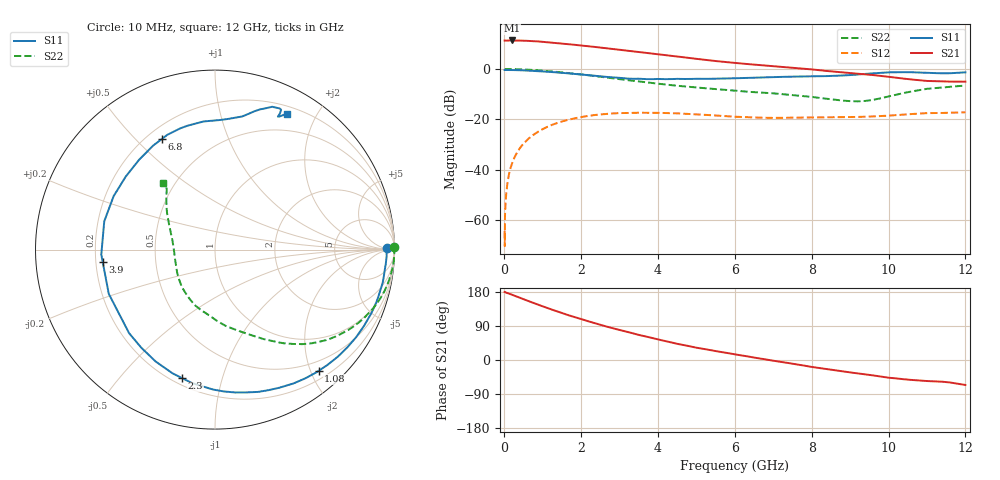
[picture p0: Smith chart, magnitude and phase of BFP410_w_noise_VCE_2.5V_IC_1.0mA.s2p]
! Infineon Technologies  Discrete & RF Semiconductors
! BFP410
! VCE =  2.5 V,  IC =  1.0 mA
! Common Emitter S-Parameters:  Nov 2015
# GHz  S  MA  R  50
!  f  S11  S21  S12  S22
! GHz  MAG  ANG  MAG  ANG  MAG  ANG  MAG  ANG
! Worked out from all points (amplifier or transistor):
!   243 points, 10 MHz to 12 GHz, reference 50 ohm
!   highest |S21| = 11.4 dB at 195 MHz (marker M1)
!   |S21| within 3 dB of that: start of sweep to 2.604 GHz
!   unconditionally stable (mu >= 1): 4.633 GHz to end of sweep
!   at 240 MHz: K = 0.02, MSG = 23.7 dB, |S12| = -36.1 dB
!   at 1.84 GHz: K = 0.28, MSG = 14.6 dB, |S12| = -19.6 dB
!   at 12 GHz: K = 1.27, MAG = 3.0 dB, |S12| = -17.2 dB
!   lowest NFmin = 0.79 dB at 900 MHz
!   S11 on the Smith chart (normalised r, x): 10 MHz: 42, +10; 1.08 GHz: 0.33, -2.13; 2.3 GHz: 0.24, -0.75; 3.9 GHz: 0.23, -0.05; 6.8 GHz: 0.26, +0.60; 12 GHz: 0.28, +1.63
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0.01  0.956 0.6  3.677 179.7  0.0006 -73.2  1 0.7
0.015  0.9558 0.1  3.675 179.6  0.0003 80.1  0.997 0.5
0.02  0.9557 -0.4  3.673 179.4  0.0012 93.1  0.994 0.2
0.035  0.9562 -1.3  3.67 178.6  0.0022 89.9  0.9966 -0.3
0.065  0.9564 -2.8  3.674 177.2  0.0042 88.1  0.9991 -1.2
0.195  0.9525 -8.8  3.695 172.6  0.0128 85.1  0.9967 -4.5
0.4  0.9457 -18.0  3.676 164.5  0.0261 79.8  0.9866 -9.2
0.7  0.9253 -31.9  3.607 152.9  0.0455 71.9  0.9619 -16.1
1.08  0.8887 -49.5  3.437 138.7  0.0684 61.7  0.9161 -24.3
1.6  0.8282 -73.2  3.159 120.5  0.0949 47.8  0.8403 -34.3
2.02  0.7761 -91.8  2.919 107.4  0.1113 37.8  0.7781 -41.2
2.3  0.7395 -104.3  2.774 98.9  0.12 31.2  0.7342 -45.6
3  0.6677 -135.8  2.416 79.1  0.1329 16.3  0.628 -55.5
3.9  0.6292 -173.5  2.009 56.7  0.1344 1.6  0.5213 -66.6
4.1  0.6303 179.2  1.93 52.0  0.1337 -1.2  0.501 -69.2
5  0.6385 152.2  1.593 32.5  0.1258 -11.8  0.4294 -82.0
6.1  0.6578 128.2  1.3 13.3  0.1117 -17.5  0.3639 -96.2
6.8  0.6835 115.8  1.168 1.6  0.1074 -17.9  0.3349 -107.3
8.2  0.7183 91.4  0.946 -21.2  0.1092 -18.9  0.2662 -136.9
9.2  0.7783 76.2  0.807 -35.3  0.1114 -19.1  0.2275 -174.3
10.2  0.8608 66.8  0.672 -48.6  0.1213 -19.2  0.308 147.7
12  0.858 62.0  0.56 -65.9  0.138 -28.6  0.4688 127.8
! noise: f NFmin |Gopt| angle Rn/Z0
0.45  0.82  0.68  9  0.45
0.9  0.79  0.65  23  0.41
1.8  1.13  0.53  57  0.35
2.4  1.23  0.5  71  0.31
5.5  2.66  0.44  -153  0.19
